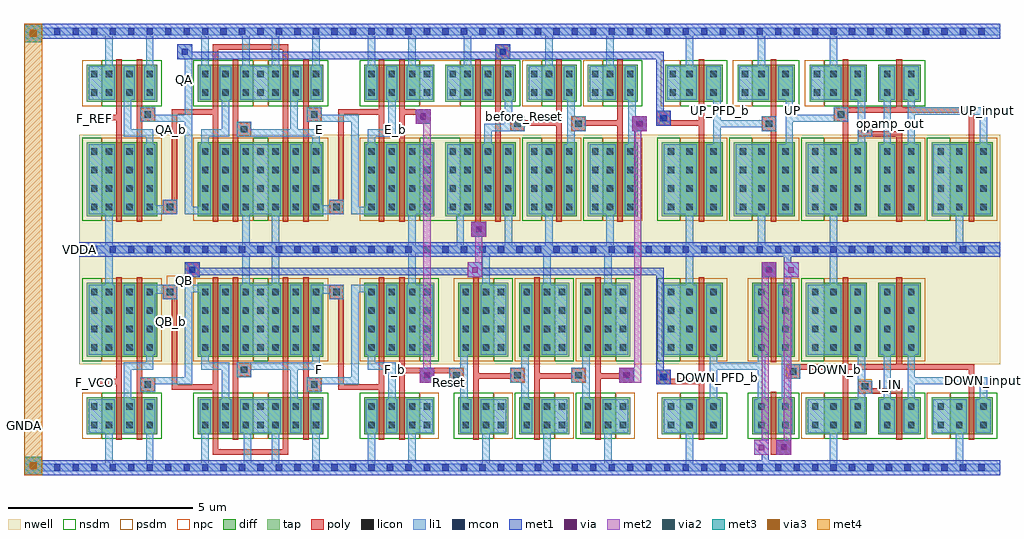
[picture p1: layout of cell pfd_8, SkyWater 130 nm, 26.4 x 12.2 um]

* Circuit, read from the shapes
.subckt pfd_8 DOWN DOWN_PFD_b DOWN_b DOWN_input E E_b F F_REF F_VCO F_b GNDA I_IN QA QA_b QB QB_b Reset UP UP_PFD_b UP_b UP_input VDDA before_Reset opamp_out
XM1 QB_b F_VCO GNDA GNDA sky130_fd_pr__nfet_01v8 w=1 l=0.15
XM2 QA_b F_REF GNDA GNDA sky130_fd_pr__nfet_01v8 w=1 l=0.15
XM3 GNDA QB QB_b GNDA sky130_fd_pr__nfet_01v8 w=1 l=0.15
XM4 GNDA QA QA_b GNDA sky130_fd_pr__nfet_01v8 w=1 l=0.15
XM5 QB QB_b GNDA GNDA sky130_fd_pr__nfet_01v8 w=1 l=0.15
XM6 QA QA_b GNDA GNDA sky130_fd_pr__nfet_01v8 w=1 l=0.15
XM7 GNDA F QB GNDA sky130_fd_pr__nfet_01v8 w=1 l=0.15
XM8 GNDA E QA GNDA sky130_fd_pr__nfet_01v8 w=1 l=0.15
XM9 F QB_b GNDA GNDA sky130_fd_pr__nfet_01v8 w=1 l=0.15
XM10 E QA_b GNDA GNDA sky130_fd_pr__nfet_01v8 w=1 l=0.15
XM11 GNDA F_b F GNDA sky130_fd_pr__nfet_01v8 w=1 l=0.15
XM12 GNDA E_b E GNDA sky130_fd_pr__nfet_01v8 w=1 l=0.15
XM13 F_b F GNDA GNDA sky130_fd_pr__nfet_01v8 w=1 l=0.15
XM14 E_b E GNDA GNDA sky130_fd_pr__nfet_01v8 w=1 l=0.15
XM15 GNDA Reset F_b GNDA sky130_fd_pr__nfet_01v8 w=1 l=0.15
XM16 GNDA Reset E_b GNDA sky130_fd_pr__nfet_01v8 w=1 l=0.15
XM17 GNDA n1 Reset GNDA sky130_fd_pr__nfet_01v8 w=1 l=0.15
XM18 n2 QB GNDA GNDA sky130_fd_pr__nfet_01v8 w=1 l=0.15
XM19 before_Reset QA n2 GNDA sky130_fd_pr__nfet_01v8 w=1 l=0.15
XM20 GNDA n3 n1 GNDA sky130_fd_pr__nfet_01v8 w=1 l=0.15
XM21 n4 before_Reset GNDA GNDA sky130_fd_pr__nfet_01v8 w=1 l=0.15
XM22 GNDA n5 n3 GNDA sky130_fd_pr__nfet_01v8 w=1 l=0.15
XM23 n5 n4 GNDA GNDA sky130_fd_pr__nfet_01v8 w=1 l=0.15
XM24 DOWN_PFD_b QB GNDA GNDA sky130_fd_pr__nfet_01v8 w=1 l=0.15
XM25 UP_PFD_b QA GNDA GNDA sky130_fd_pr__nfet_01v8 w=1 l=0.15
XM26 DOWN_b VDDA DOWN_PFD_b GNDA sky130_fd_pr__nfet_01v8 w=1 l=0.15
XM27 UP UP_PFD_b GNDA GNDA sky130_fd_pr__nfet_01v8 w=1 l=0.15
XM28 DOWN DOWN_b GNDA GNDA sky130_fd_pr__nfet_01v8 w=1 l=0.15
XM29 UP_b UP GNDA GNDA sky130_fd_pr__nfet_01v8 w=1 l=0.15
XM30 DOWN_input DOWN I_IN GNDA sky130_fd_pr__nfet_01v8 w=1 l=0.15
XM31 UP_input UP opamp_out GNDA sky130_fd_pr__nfet_01v8 w=1 l=0.15
XM32 DOWN_input DOWN_b GNDA GNDA sky130_fd_pr__nfet_01v8 w=1 l=0.15
XM33 n6 F_VCO VDDA VDDA sky130_fd_pr__pfet_01v8 w=2 l=0.15
XM34 n7 F_REF VDDA VDDA sky130_fd_pr__pfet_01v8 w=2 l=0.15
XM35 QB_b QB n6 VDDA sky130_fd_pr__pfet_01v8 w=2 l=0.15
XM36 QA_b QA n7 VDDA sky130_fd_pr__pfet_01v8 w=2 l=0.15
XM37 n8 QB_b QB VDDA sky130_fd_pr__pfet_01v8 w=2 l=0.15
XM38 n9 QA_b QA VDDA sky130_fd_pr__pfet_01v8 w=2 l=0.15
XM39 VDDA F n8 VDDA sky130_fd_pr__pfet_01v8 w=2 l=0.15
XM40 VDDA E n9 VDDA sky130_fd_pr__pfet_01v8 w=2 l=0.15
XM41 n10 QB_b VDDA VDDA sky130_fd_pr__pfet_01v8 w=2 l=0.15
XM42 n11 QA_b VDDA VDDA sky130_fd_pr__pfet_01v8 w=2 l=0.15
XM43 F F_b n10 VDDA sky130_fd_pr__pfet_01v8 w=2 l=0.15
XM44 E E_b n11 VDDA sky130_fd_pr__pfet_01v8 w=2 l=0.15
XM45 n12 F F_b VDDA sky130_fd_pr__pfet_01v8 w=2 l=0.15
XM46 n13 E E_b VDDA sky130_fd_pr__pfet_01v8 w=2 l=0.15
XM47 VDDA Reset n12 VDDA sky130_fd_pr__pfet_01v8 w=2 l=0.15
XM48 VDDA Reset n13 VDDA sky130_fd_pr__pfet_01v8 w=2 l=0.15
XM49 VDDA n1 Reset VDDA sky130_fd_pr__pfet_01v8 w=2 l=0.15
XM50 before_Reset QB VDDA VDDA sky130_fd_pr__pfet_01v8 w=2 l=0.15
XM51 VDDA QA before_Reset VDDA sky130_fd_pr__pfet_01v8 w=2 l=0.15
XM52 VDDA n3 n1 VDDA sky130_fd_pr__pfet_01v8 w=2 l=0.15
XM53 n4 before_Reset VDDA VDDA sky130_fd_pr__pfet_01v8 w=2 l=0.15
XM54 VDDA n5 n3 VDDA sky130_fd_pr__pfet_01v8 w=2 l=0.15
XM55 n5 n4 VDDA VDDA sky130_fd_pr__pfet_01v8 w=2 l=0.15
XM56 DOWN_PFD_b QB VDDA VDDA sky130_fd_pr__pfet_01v8 w=2 l=0.15
XM57 UP_PFD_b QA VDDA VDDA sky130_fd_pr__pfet_01v8 w=2 l=0.15
XM58 DOWN_b GNDA DOWN_PFD_b VDDA sky130_fd_pr__pfet_01v8 w=2 l=0.15
XM59 UP UP_PFD_b VDDA VDDA sky130_fd_pr__pfet_01v8 w=2 l=0.15
XM60 DOWN DOWN_b VDDA VDDA sky130_fd_pr__pfet_01v8 w=2 l=0.15
XM61 UP_b UP VDDA VDDA sky130_fd_pr__pfet_01v8 w=2 l=0.15
XM62 DOWN_input DOWN_b I_IN VDDA sky130_fd_pr__pfet_01v8 w=2 l=0.15
XM63 UP_input UP_b opamp_out VDDA sky130_fd_pr__pfet_01v8 w=2 l=0.15
XM64 UP_input UP VDDA VDDA sky130_fd_pr__pfet_01v8 w=2 l=0.15
.ends

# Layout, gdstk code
import gdstk
lib = gdstk.Library(unit=1e-6, precision=1e-09)
def R(c, l, rs):  # rectangles x0, y0, x1, y1
    for r in rs: c.add(gdstk.rectangle(r[:2], r[2:], *l))
def A(c, l, x, y, w, h, nx, ny, dx, dy):  # array of equal rectangles
    R(c, l, [(x+i*dx, y+j*dy, x+i*dx+w, y+j*dy+h) for i in range(nx) for j in range(ny)])
nwell = (64, 20)
diff = (65, 20)
tap = (65, 44)
poly = (66, 20)
licon = (66, 44)
li1 = (67, 20)
mcon = (67, 44)
met1 = (68, 20)
via = (68, 44)
met2 = (69, 20)
via2 = (69, 44)
met3 = (70, 20)
via3 = (70, 44)
met4 = (71, 20)
nsdm = (93, 44)
psdm = (94, 20)
npc = (95, 20)

pfd_8 = lib.new_cell('pfd_8')
R(pfd_8, nwell, [(8,-43.55,32.9,-37.35)])
A(pfd_8, diff, 18.25, -45.45, 0.95, 1, 3, 1, 1.65, 0)
A(pfd_8, diff, 24.25, -45.45, 1.15, 1, 3, 2, 1.95, 9)
A(pfd_8, diff, 18.25, -43.35, 0.95, 2, 3, 1, 1.65, 0)
A(pfd_8, diff, 24.25, -43.35, 1.15, 2, 3, 2, 1.95, 3.8)
A(pfd_8, diff, 13.1, -36.45, 1.5, 1, 3, 1, 2.6, 0)
R(pfd_8, diff, [(8.6,-45.45,10.1,-44.45), (11.2,-45.45,12.7,-44.45), (13.1,-45.45,14.6,-44.45), (15.7,-45.45,17.2,-44.45), (29.6,-45.45,30.75,-44.45), (31.55,-45.45,32.7,-44.45), (8.6,-43.35,10.1,-41.35), (11.2,-43.35,12.7,-41.35), (13.1,-43.35,14.6,-41.35), (15.7,-43.35,17.2,-41.35), (29.6,-43.35,30.75,-41.35), (8.6,-39.55,10.1,-37.55), (11.2,-39.55,12.7,-37.55), (13.1,-39.55,14.6,-37.55), (15.7,-39.55,17.2,-37.55), (18.2,-39.55,19.8,-39.5), (20.5,-39.55,21.45,-37.55), (22.15,-39.55,23.1,-37.55), (29.6,-39.55,30.75,-37.55), (31.55,-39.55,32.7,-37.55), (18.3,-39.5,19.8,-37.55), (8.6,-36.45,10.1,-35.45), (11.2,-36.45,12.7,-35.45), (20.5,-36.45,21.45,-35.45), (22.15,-36.45,23.1,-35.45), (29.6,-36.45,30.75,-35.45)])
A(pfd_8, tap, 8.2, -45.45, 0.4, 1, 3, 2, 4.5, 9)
A(pfd_8, tap, 19.2, -45.45, 0.4, 1, 3, 1, 1.65, 0)
A(pfd_8, tap, 8.2, -43.35, 0.4, 2, 3, 2, 4.5, 3.8)
A(pfd_8, tap, 19.2, -43.35, 0.4, 2, 3, 1, 1.65, 0)
A(pfd_8, tap, 23.75, -39.55, 0.5, 2, 3, 1, 1.95, 0)
A(pfd_8, tap, 23.85, -36.45, 0.4, 1, 3, 1, 1.95, 0)
R(pfd_8, tap, [(23.75,-45.45,24.25,-44.45), (27.65,-45.45,28.15,-44.45), (31.05,-45.45,31.55,-44.45), (23.75,-43.35,24.25,-41.35), (27.65,-43.35,28.15,-41.35), (17.9,-39.55,18.2,-39.5), (20.1,-39.55,20.5,-37.55), (21.75,-39.55,22.15,-37.55), (31.05,-39.55,31.55,-37.55), (17.9,-39.5,18.3,-37.55), (17.9,-36.45,18.3,-35.45), (20.1,-36.45,20.5,-35.45), (21.75,-36.45,22.15,-35.45)])
A(pfd_8, poly, 18.65, -45.6, 0.15, 1.65, 3, 1, 1.65, 0)
A(pfd_8, poly, 18.65, -43.8, 0.15, 2.6, 3, 1, 1.65, 0)
R(pfd_8, poly, [(11.6,-46,13.65,-45.85), (26.7,-46,27.25,-45.6), (11.6,-45.85,11.75,-44.25), (13.5,-45.85,13.65,-41.2), (9,-45.6,9.15,-44.1), (9.55,-45.6,9.7,-44.3), (12.15,-45.6,12.3,-43.9), (14.05,-45.6,14.2,-44.3), (16.1,-45.6,16.25,-44.25), (16.65,-45.6,16.8,-43.8), (24.75,-45.6,24.9,-44.1), (26.7,-45.6,26.85,-44.3), (28.65,-45.6,28.8,-43.7), (30.1,-45.6,30.25,-44.35), (32.05,-45.6,32.2,-43.7), (29.05,-44.35,30.25,-44.2), (9.55,-44.3,10.05,-43.9), (14.05,-44.3,14.55,-43.9), (10.5,-44.25,11.75,-44.1), (15,-44.25,16.25,-44.1), (29.05,-44.2,29.45,-44), (8.4,-44.1,9.15,-43.95), (10.5,-44.1,10.65,-41.8), (11.6,-44.1,11.75,-41.2), (15,-44.1,15.15,-41.8), (16.1,-44.1,16.25,-41.2), (23.6,-44.1,24.9,-43.95), (17.2,-44.05,17.6,-43.8), (18,-44.05,18.4,-43.8), (19.65,-44.05,20.05,-43.95), (21.3,-44.05,21.7,-43.95), (22.6,-44.05,23,-43.95), (9,-43.95,9.15,-41.2), (18.65,-43.95,20.05,-43.8), (20.3,-43.95,21.7,-43.8), (21.95,-43.95,23,-43.8), (23.6,-43.95,24,-43.7), (24.75,-43.95,24.9,-41.2), (27.1,-43.95,27.5,-43.7), (9.55,-43.9,9.7,-41.2), (12.15,-43.9,12.65,-43.5), (14.05,-43.9,14.2,-41.2), (16.65,-43.8,18.4,-43.65), (19.65,-43.8,20.05,-43.65), (21.3,-43.8,21.7,-43.65), (22.6,-43.8,23,-43.65), (27.1,-43.7,32.2,-43.55), (16.65,-43.65,16.8,-41.2), (28.65,-43.55,28.8,-41.2), (30.1,-43.55,30.25,-41.2), (12.15,-43.5,12.3,-41.2), (26.7,-43.5,26.85,-41.2), (10.25,-41.8,10.65,-41.4), (14.75,-41.8,15.15,-41.4), (10.85,-41.2,11.25,-40.8), (26.45,-41.2,26.85,-40.8), (18.6,-40.1,19,-39.7), (9,-39.7,9.15,-36.95), (9.55,-39.7,9.7,-37), (11.6,-39.7,11.75,-36.8), (12.15,-39.7,12.3,-37.4), (13.5,-39.7,13.65,-35.05), (14.05,-39.7,14.2,-37), (16.1,-39.7,16.25,-36.8), (16.65,-39.7,16.8,-36.8), (18.7,-39.7,18.85,-35.3), (19.25,-39.7,19.4,-35.3), (20.9,-39.7,21.05,-37.1), (22.55,-39.7,22.7,-37.1), (24.75,-39.7,24.9,-37.1), (26.7,-39.7,26.85,-37.25), (28.65,-39.7,28.8,-37), (30.1,-39.7,30.25,-37.4), (32.05,-39.7,32.2,-36.75), (10.25,-39.5,10.65,-39.1), (14.75,-39.5,15.15,-39.1), (10.5,-39.1,10.65,-36.8), (15,-39.1,15.15,-36.8), (12.15,-37.4,12.65,-37), (29.05,-37.4,30.25,-37.25), (19.65,-37.25,20.05,-37.1), (21.3,-37.25,21.7,-37.1), (22.95,-37.25,23.35,-36.85), (26.45,-37.25,26.85,-36.85), (29.05,-37.25,29.45,-37), (19.65,-37.1,21.05,-36.95), (21.3,-37.1,22.7,-36.95), (23.6,-37.1,24.9,-36.95), (17.1,-37.05,17.5,-36.8), (9.55,-37,10.05,-36.6), (12.15,-37,12.3,-35.3), (14.05,-37,14.55,-36.6), (28.4,-37,28.8,-36.75), (8.4,-36.95,9.15,-36.8), (19.65,-36.95,20.05,-36.85), (20.9,-36.95,21.05,-35.3), (21.3,-36.95,21.7,-36.85), (22.55,-36.95,22.7,-35.3), (23.6,-36.95,24,-36.7), (24.75,-36.95,24.9,-35.3), (26.7,-36.85,26.85,-35.3), (9,-36.8,9.15,-35.3), (10.5,-36.8,11.75,-36.65), (15,-36.8,16.25,-36.65), (16.65,-36.8,17.5,-36.65), (28.4,-36.75,32.2,-36.6), (11.6,-36.65,11.75,-35.05), (16.1,-36.65,16.25,-35.3), (16.65,-36.65,16.8,-35.3), (9.55,-36.6,9.7,-35.3), (14.05,-36.6,14.2,-35.3), (28.65,-36.6,28.8,-35.3), (30.1,-36.6,30.25,-35.3), (19.25,-35.3,19.65,-34.9), (11.6,-35.05,13.65,-34.9)])
A(pfd_8, licon, 8.715, -45.285, 0.17, 0.17, 3, 2, 0.55, 0.5)
A(pfd_8, licon, 11.315, -45.285, 0.17, 0.17, 3, 2, 0.55, 0.5)
A(pfd_8, licon, 13.215, -45.285, 0.17, 0.17, 3, 2, 0.55, 0.5)
A(pfd_8, licon, 15.815, -45.285, 0.17, 0.17, 3, 2, 0.55, 0.5)
A(pfd_8, licon, 18.115, -43.935, 0.17, 0.17, 3, 1, 1.65, 0)
A(pfd_8, licon, 8.315, -43.185, 0.17, 0.17, 1, 4, 0, 0.5)
A(pfd_8, licon, 8.715, -43.185, 0.17, 0.17, 3, 3, 0.55, 0.5)
A(pfd_8, licon, 11.315, -43.185, 0.17, 0.17, 3, 4, 0.55, 0.5)
A(pfd_8, licon, 12.815, -43.185, 0.17, 0.17, 1, 4, 0, 0.5)
A(pfd_8, licon, 13.215, -43.185, 0.17, 0.17, 3, 3, 0.55, 0.5)
A(pfd_8, licon, 15.815, -43.185, 0.17, 0.17, 3, 4, 0.55, 0.5)
A(pfd_8, licon, 17.315, -43.185, 0.17, 0.17, 1, 4, 0, 0.5)
A(pfd_8, licon, 18.365, -43.185, 0.17, 0.17, 1, 4, 0, 0.5)
A(pfd_8, licon, 18.915, -43.185, 0.17, 0.17, 1, 4, 0, 0.5)
A(pfd_8, licon, 19.315, -43.185, 0.17, 0.17, 1, 4, 0, 0.5)
A(pfd_8, licon, 20.015, -43.185, 0.17, 0.17, 1, 4, 0, 0.5)
A(pfd_8, licon, 20.565, -43.185, 0.17, 0.17, 1, 4, 0, 0.5)
A(pfd_8, licon, 20.965, -43.185, 0.17, 0.17, 1, 4, 0, 0.5)
A(pfd_8, licon, 21.665, -43.185, 0.17, 0.17, 1, 4, 0, 0.5)
A(pfd_8, licon, 22.215, -43.185, 0.17, 0.17, 1, 4, 0, 0.5)
A(pfd_8, licon, 22.615, -43.185, 0.17, 0.17, 1, 4, 0, 0.5)
A(pfd_8, licon, 23.915, -43.185, 0.17, 0.17, 1, 4, 0, 0.5)
A(pfd_8, licon, 24.415, -43.185, 0.17, 0.17, 1, 4, 0, 0.5)
A(pfd_8, licon, 25.065, -43.185, 0.17, 0.17, 1, 4, 0, 0.5)
A(pfd_8, licon, 26.365, -43.185, 0.17, 0.17, 1, 4, 0, 0.5)
A(pfd_8, licon, 27.015, -43.185, 0.17, 0.17, 1, 4, 0, 0.5)
A(pfd_8, licon, 27.815, -43.185, 0.17, 0.17, 1, 4, 0, 0.5)
A(pfd_8, licon, 28.315, -43.185, 0.17, 0.17, 1, 4, 0, 0.5)
A(pfd_8, licon, 28.965, -43.185, 0.17, 0.17, 1, 4, 0, 0.5)
A(pfd_8, licon, 29.765, -43.185, 0.17, 0.17, 1, 4, 0, 0.5)
A(pfd_8, licon, 30.415, -43.185, 0.17, 0.17, 1, 4, 0, 0.5)
A(pfd_8, licon, 8.715, -41.685, 0.17, 0.17, 4, 2, 0.55, 2.3)
A(pfd_8, licon, 13.215, -41.685, 0.17, 0.17, 4, 2, 0.55, 2.3)
A(pfd_8, licon, 8.315, -39.385, 0.17, 0.17, 1, 4, 0, 0.5)
A(pfd_8, licon, 11.315, -39.385, 0.17, 0.17, 3, 4, 0.55, 0.5)
A(pfd_8, licon, 12.815, -39.385, 0.17, 0.17, 1, 4, 0, 0.5)
A(pfd_8, licon, 15.815, -39.385, 0.17, 0.17, 3, 4, 0.55, 0.5)
A(pfd_8, licon, 17.315, -39.385, 0.17, 0.17, 1, 4, 0, 0.5)
A(pfd_8, licon, 18.015, -39.385, 0.17, 0.17, 1, 4, 0, 0.5)
A(pfd_8, licon, 18.415, -39.385, 0.17, 0.17, 3, 4, 0.55, 0.5)
A(pfd_8, licon, 20.215, -39.385, 0.17, 0.17, 1, 4, 0, 0.5)
A(pfd_8, licon, 20.615, -39.385, 0.17, 0.17, 1, 4, 0, 0.5)
A(pfd_8, licon, 21.165, -39.385, 0.17, 0.17, 1, 4, 0, 0.5)
A(pfd_8, licon, 21.865, -39.385, 0.17, 0.17, 1, 4, 0, 0.5)
A(pfd_8, licon, 22.265, -39.385, 0.17, 0.17, 1, 4, 0, 0.5)
A(pfd_8, licon, 22.815, -39.385, 0.17, 0.17, 1, 4, 0, 0.5)
A(pfd_8, licon, 23.915, -39.385, 0.17, 0.17, 1, 4, 0, 0.5)
A(pfd_8, licon, 24.415, -39.385, 0.17, 0.17, 1, 4, 0, 0.5)
A(pfd_8, licon, 25.065, -39.385, 0.17, 0.17, 1, 4, 0, 0.5)
A(pfd_8, licon, 25.865, -39.385, 0.17, 0.17, 1, 4, 0, 0.5)
A(pfd_8, licon, 26.365, -39.385, 0.17, 0.17, 1, 4, 0, 0.5)
A(pfd_8, licon, 27.015, -39.385, 0.17, 0.17, 1, 4, 0, 0.5)
A(pfd_8, licon, 27.815, -39.385, 0.17, 0.17, 1, 4, 0, 0.5)
A(pfd_8, licon, 28.315, -39.385, 0.17, 0.17, 1, 4, 0, 0.5)
A(pfd_8, licon, 28.965, -39.385, 0.17, 0.17, 1, 4, 0, 0.5)
A(pfd_8, licon, 29.765, -39.385, 0.17, 0.17, 1, 4, 0, 0.5)
A(pfd_8, licon, 30.415, -39.385, 0.17, 0.17, 1, 4, 0, 0.5)
A(pfd_8, licon, 31.215, -39.385, 0.17, 0.17, 1, 4, 0, 0.5)
A(pfd_8, licon, 31.715, -39.385, 0.17, 0.17, 1, 4, 0, 0.5)
A(pfd_8, licon, 32.365, -39.385, 0.17, 0.17, 1, 4, 0, 0.5)
A(pfd_8, licon, 8.715, -38.885, 0.17, 0.17, 3, 3, 0.55, 0.5)
A(pfd_8, licon, 13.215, -38.885, 0.17, 0.17, 3, 3, 0.55, 0.5)
A(pfd_8, licon, 19.765, -37.135, 0.17, 0.17, 3, 1, 1.65, 0)
A(pfd_8, licon, 8.715, -36.285, 0.17, 0.17, 3, 2, 0.55, 0.5)
A(pfd_8, licon, 11.315, -36.285, 0.17, 0.17, 3, 2, 0.55, 0.5)
A(pfd_8, licon, 13.215, -36.285, 0.17, 0.17, 3, 2, 0.55, 0.5)
A(pfd_8, licon, 15.815, -36.285, 0.17, 0.17, 3, 2, 0.55, 0.5)
A(pfd_8, licon, 18.415, -36.285, 0.17, 0.17, 3, 2, 0.55, 0.5)
R(pfd_8, licon, [(26.965,-45.885,27.135,-45.715), (8.315,-45.285,8.485,-45.115), (12.815,-45.285,12.985,-45.115), (17.315,-45.285,17.485,-45.115), (18.365,-45.285,18.535,-45.115), (18.915,-45.285,19.085,-45.115), (19.315,-45.285,19.485,-45.115), (20.015,-45.285,20.185,-45.115), (20.565,-45.285,20.735,-45.115), (20.965,-45.285,21.135,-45.115), (21.665,-45.285,21.835,-45.115), (22.215,-45.285,22.385,-45.115), (22.615,-45.285,22.785,-45.115), (23.915,-45.285,24.085,-45.115), (24.415,-45.285,24.585,-45.115), (25.065,-45.285,25.235,-45.115), (26.365,-45.285,26.535,-45.115), (27.015,-45.285,27.185,-45.115), (27.815,-45.285,27.985,-45.115), (28.315,-45.285,28.485,-45.115), (28.965,-45.285,29.135,-45.115), (29.765,-45.285,29.935,-45.115), (30.415,-45.285,30.585,-45.115), (31.215,-45.285,31.385,-45.115), (31.715,-45.285,31.885,-45.115), (32.365,-45.285,32.535,-45.115), (8.315,-44.785,8.485,-44.615), (12.815,-44.785,12.985,-44.615), (17.315,-44.785,17.485,-44.615), (18.365,-44.785,18.535,-44.615), (18.915,-44.785,19.085,-44.615), (19.315,-44.785,19.485,-44.615), (20.015,-44.785,20.185,-44.615), (20.565,-44.785,20.735,-44.615), (20.965,-44.785,21.135,-44.615), (21.665,-44.785,21.835,-44.615), (22.215,-44.785,22.385,-44.615), (22.615,-44.785,22.785,-44.615), (23.915,-44.785,24.085,-44.615), (24.415,-44.785,24.585,-44.615), (25.065,-44.785,25.235,-44.615), (26.365,-44.785,26.535,-44.615), (27.015,-44.785,27.185,-44.615), (27.815,-44.785,27.985,-44.615), (28.315,-44.785,28.485,-44.615), (28.965,-44.785,29.135,-44.615), (29.765,-44.785,29.935,-44.615), (30.415,-44.785,30.585,-44.615), (31.215,-44.785,31.385,-44.615), (31.715,-44.785,31.885,-44.615), (32.365,-44.785,32.535,-44.615), (29.165,-44.235,29.335,-44.065), (9.765,-44.185,9.935,-44.015), (14.265,-44.185,14.435,-44.015), (23.715,-43.985,23.885,-43.815), (17.315,-43.935,17.485,-43.765), (22.715,-43.935,22.885,-43.765), (27.215,-43.835,27.385,-43.665), (12.365,-43.785,12.535,-43.615), (10.965,-41.085,11.135,-40.915), (26.565,-41.085,26.735,-40.915), (18.715,-39.985,18.885,-39.815), (12.365,-37.285,12.535,-37.115), (29.165,-37.285,29.335,-37.115), (26.565,-37.135,26.735,-36.965), (23.715,-36.985,23.885,-36.815), (17.215,-36.935,17.385,-36.765), (9.765,-36.885,9.935,-36.715), (14.265,-36.885,14.435,-36.715), (28.515,-36.885,28.685,-36.715), (8.315,-36.285,8.485,-36.115), (12.815,-36.285,12.985,-36.115), (17.315,-36.285,17.485,-36.115), (18.015,-36.285,18.185,-36.115), (20.215,-36.285,20.385,-36.115), (20.615,-36.285,20.785,-36.115), (21.165,-36.285,21.335,-36.115), (21.865,-36.285,22.035,-36.115), (22.265,-36.285,22.435,-36.115), (22.815,-36.285,22.985,-36.115), (23.965,-36.285,24.135,-36.115), (24.415,-36.285,24.585,-36.115), (25.065,-36.285,25.235,-36.115), (25.915,-36.285,26.085,-36.115), (26.365,-36.285,26.535,-36.115), (27.015,-36.285,27.185,-36.115), (27.865,-36.285,28.035,-36.115), (28.315,-36.285,28.485,-36.115), (28.965,-36.285,29.135,-36.115), (29.765,-36.285,29.935,-36.115), (30.415,-36.285,30.585,-36.115), (8.315,-35.785,8.485,-35.615), (12.815,-35.785,12.985,-35.615), (17.315,-35.785,17.485,-35.615), (18.015,-35.785,18.185,-35.615), (20.215,-35.785,20.385,-35.615), (20.615,-35.785,20.785,-35.615), (21.165,-35.785,21.335,-35.615), (21.865,-35.785,22.035,-35.615), (22.265,-35.785,22.435,-35.615), (22.815,-35.785,22.985,-35.615), (23.965,-35.785,24.135,-35.615), (24.415,-35.785,24.585,-35.615), (25.065,-35.785,25.235,-35.615), (25.915,-35.785,26.085,-35.615), (26.365,-35.785,26.535,-35.615), (27.015,-35.785,27.185,-35.615), (27.865,-35.785,28.035,-35.615), (28.315,-35.785,28.485,-35.615), (28.965,-35.785,29.135,-35.615), (29.765,-35.785,29.935,-35.615), (30.415,-35.785,30.585,-35.615), (19.365,-35.185,19.535,-35.015)])
A(pfd_8, li1, 18.9, -46.25, 0.2, 0.85, 3, 2, 1.65, 4.85)
A(pfd_8, li1, 18.3, -45.4, 0.3, 0.9, 3, 1, 1.65, 0)
A(pfd_8, li1, 18.85, -45.4, 0.7, 0.9, 3, 1, 1.65, 0)
A(pfd_8, li1, 18.3, -44.5, 0.2, 0.45, 3, 1, 1.65, 0)
A(pfd_8, li1, 18, -44.05, 0.5, 0.4, 3, 1, 1.65, 0)
A(pfd_8, li1, 18.3, -43.65, 0.2, 0.35, 3, 1, 1.65, 0)
A(pfd_8, li1, 18.3, -43.3, 0.3, 1.9, 3, 1, 1.65, 0)
A(pfd_8, li1, 18.85, -43.3, 0.7, 1.9, 3, 1, 1.65, 0)
A(pfd_8, li1, 16.9, -40.35, 0.2, 0.85, 3, 1, 1.3, 0)
A(pfd_8, li1, 24.4, -40.35, 0.2, 0.85, 3, 2, 1.95, 4.85)
A(pfd_8, li1, 13.7, -39.5, 0.3, 1.9, 3, 1, 2.6, 0)
A(pfd_8, li1, 19.45, -39.5, 0.3, 1.9, 3, 1, 1.65, 0)
A(pfd_8, li1, 23.8, -39.5, 0.9, 1.9, 3, 1, 1.95, 0)
A(pfd_8, li1, 24.95, -39.5, 0.4, 1.9, 3, 1, 1.95, 0)
A(pfd_8, li1, 19.45, -36.4, 0.3, 0.9, 3, 1, 1.65, 0)
A(pfd_8, li1, 23.9, -36.4, 0.8, 0.9, 3, 1, 1.95, 0)
A(pfd_8, li1, 24.95, -36.4, 0.4, 0.9, 3, 1, 1.95, 0)
R(pfd_8, li1, [(6.5,-46.55,7,-46.45), (6.5,-46.45,32.9,-46.25), (6.5,-46.25,7,-46.05), (8.7,-46.25,8.9,-45.4), (9.8,-46.25,10,-45.4), (11.3,-46.25,11.5,-45.4), (12.45,-46.25,12.65,-45.4), (13.2,-46.25,13.4,-45.4), (14.3,-46.25,14.5,-45.4), (15.8,-46.25,16,-45.4), (16.9,-46.25,17.1,-45.4), (24.4,-46.25,24.6,-45.4), (28.3,-46.25,28.5,-45.4), (31.7,-46.25,31.9,-45.4), (26.85,-46,27.25,-45.6), (8.25,-45.4,8.95,-44.5), (9.2,-45.4,9.5,-44.5), (9.75,-45.4,10.05,-44.5), (11.25,-45.4,11.55,-44.5), (11.8,-45.4,12.1,-44.5), (12.35,-45.4,13.45,-44.5), (13.7,-45.4,14,-44.5), (14.25,-45.4,14.55,-44.5), (15.75,-45.4,16.05,-44.5), (16.3,-45.4,16.6,-44.5), (16.85,-45.4,17.55,-44.5), (23.8,-45.4,24.7,-44.5), (24.95,-45.4,25.35,-44.5), (26.25,-45.4,26.65,-44.5), (26.9,-45.4,27.3,-44.5), (27.7,-45.4,28.6,-44.5), (28.85,-45.4,29.25,-44.5), (29.65,-45.4,30.05,-44.5), (30.3,-45.4,30.7,-44.5), (31.1,-45.4,32,-44.5), (32.25,-45.4,32.65,-44.5), (9.2,-44.5,9.4,-43.7), (11.85,-44.5,12.05,-43.7), (13.7,-44.5,13.9,-43.7), (16.35,-44.5,16.55,-43.7), (25.05,-44.5,25.25,-43.7), (26.35,-44.5,26.55,-43.7), (27,-44.5,27.2,-43.95), (29.05,-44.5,29.25,-44.35), (29.75,-44.5,29.95,-43.3), (30.4,-44.5,30.6,-44.1), (32.35,-44.5,32.55,-44.1), (29.05,-44.35,29.45,-44), (9.65,-44.3,10.05,-44.1), (14.15,-44.3,14.55,-44.1), (9.65,-44.1,11.05,-43.9), (14.15,-44.1,15.55,-43.9), (23.6,-44.1,24,-43.7), (30.4,-44.1,32.55,-43.9), (17.2,-44.05,17.6,-43.65), (22.6,-44.05,23,-43.65), (29.05,-44,29.25,-43.3), (27,-43.95,27.5,-43.55), (10.85,-43.9,11.05,-41.6), (12.25,-43.9,12.65,-43.7), (15.35,-43.9,15.55,-41.6), (30.4,-43.9,30.6,-43.3), (9.2,-43.7,10,-43.5), (11.3,-43.7,12.05,-43.5), (12.25,-43.7,14.5,-43.5), (15.8,-43.7,16.55,-43.5), (25.05,-43.7,26.55,-43.5), (27,-43.55,27.2,-43.3), (9.8,-43.5,10,-43.3), (11.3,-43.5,11.5,-43.3), (14.3,-43.5,14.5,-43.3), (15.8,-43.5,16,-43.3), (25.05,-43.5,25.25,-43.3), (26.35,-43.5,26.55,-43.3), (8.25,-43.3,8.95,-41.4), (9.2,-43.3,9.5,-41.4), (9.75,-43.3,10.05,-41.65), (11.25,-43.3,11.55,-41.6), (11.8,-43.3,12.1,-41.4), (12.35,-43.3,13.45,-41.4), (13.7,-43.3,14,-41.4), (14.25,-43.3,14.55,-41.65), (15.75,-43.3,16.05,-41.6), (16.3,-43.3,16.6,-41.4), (16.85,-43.3,17.55,-41.4), (23.8,-43.3,24.7,-41.4), (24.95,-43.3,25.35,-41.4), (26.25,-43.3,26.65,-41.4), (26.9,-43.3,27.3,-41.4), (27.7,-43.3,28.6,-41.4), (28.85,-43.3,29.25,-41.4), (29.65,-43.3,30.05,-41.4), (30.3,-43.3,30.7,-41.4), (10.25,-41.8,10.65,-41.65), (14.75,-41.8,15.15,-41.65), (9.75,-41.65,10.65,-41.4), (14.25,-41.65,15.15,-41.4), (10.85,-41.6,11.55,-41.4), (15.35,-41.6,16.05,-41.4), (8.7,-41.4,8.9,-40.55), (10.85,-41.4,11.05,-41.2), (12.4,-41.4,12.6,-40.55), (13.2,-41.4,13.4,-40.55), (16.9,-41.4,17.1,-40.55), (24.4,-41.4,24.6,-40.55), (28.3,-41.4,28.5,-40.55), (10.85,-41.2,11.25,-40.8), (26.45,-41.2,26.85,-40.8), (8,-40.55,32.9,-40.35), (8.7,-40.35,8.9,-39.5), (12.4,-40.35,12.6,-39.5), (13.2,-40.35,13.4,-39.5), (20.6,-40.35,20.8,-39.5), (22.25,-40.35,22.45,-39.5), (31.7,-40.35,31.9,-39.5), (18.6,-40.1,19,-39.7), (8.25,-39.5,8.95,-37.6), (9.2,-39.5,9.5,-37.6), (9.75,-39.5,10.65,-39.25), (10.85,-39.5,11.55,-39.3), (11.8,-39.5,12.1,-37.6), (12.35,-39.5,13.45,-37.6), (14.25,-39.5,15.15,-39.25), (15.35,-39.5,16.05,-39.3), (16.85,-39.5,17.55,-37.6), (17.95,-39.5,18.65,-37.6), (20.15,-39.5,20.85,-37.6), (21.8,-39.5,22.5,-37.6), (29.65,-39.5,30.05,-37.6), (30.3,-39.5,30.7,-37.6), (31.1,-39.5,32,-37.6), (32.25,-39.5,32.65,-37.6), (10.85,-39.3,11.05,-37), (11.25,-39.3,11.55,-37.6), (15.35,-39.3,15.55,-37), (15.75,-39.3,16.05,-37.6), (9.75,-39.25,10.05,-37.6), (10.25,-39.25,10.65,-39.1), (14.25,-39.25,14.55,-37.6), (14.75,-39.25,15.15,-39.1), (9.8,-37.6,10,-37.4), (11.3,-37.6,11.5,-37.4), (14.3,-37.6,14.5,-37.4), (15.8,-37.6,16,-37.4), (18.95,-37.6,19.15,-37.25), (21.2,-37.6,21.4,-37.25), (22.85,-37.6,23.05,-37.25), (25.15,-37.6,25.35,-37.15), (27.1,-37.6,27.3,-37), (29.05,-37.6,29.25,-37.4), (29.75,-37.6,29.95,-36.4), (30.4,-37.6,30.6,-36.8), (32.35,-37.6,32.55,-36.8), (9.2,-37.4,10,-37.2), (11.3,-37.4,12.05,-37.2), (12.25,-37.4,14.5,-37.2), (15.8,-37.4,16.55,-37.2), (29.05,-37.4,29.45,-37), (18.95,-37.25,20.05,-37.05), (21.2,-37.25,21.7,-36.85), (22.85,-37.25,23.35,-36.85), (26.45,-37.25,26.85,-37.15), (9.2,-37.2,9.4,-36.4), (11.85,-37.2,12.05,-36.4), (12.25,-37.2,12.65,-37), (13.7,-37.2,13.9,-36.4), (16.35,-37.2,16.55,-36.4), (25.15,-37.15,26.85,-36.95), (23.6,-37.1,24,-36.7), (17.1,-37.05,17.5,-36.65), (19.5,-37.05,20.05,-36.85), (9.65,-37,11.05,-36.8), (14.15,-37,15.55,-36.8), (27.1,-37,28.8,-36.8), (29.05,-37,29.25,-36.4), (25.15,-36.95,25.35,-36.4), (26.45,-36.95,26.85,-36.85), (19.5,-36.85,19.7,-36.4), (21.2,-36.85,21.4,-36.4), (22.85,-36.85,23.05,-36.4), (9.65,-36.8,10.05,-36.6), (10.85,-36.8,11.05,-35.3), (14.15,-36.8,14.55,-36.6), (27.1,-36.8,27.3,-36.4), (28.4,-36.8,28.8,-36.6), (30.4,-36.8,32.55,-36.6), (30.4,-36.6,30.6,-36.4), (8.25,-36.4,8.95,-35.5), (9.2,-36.4,9.5,-35.5), (9.75,-36.4,10.05,-35.5), (11.25,-36.4,11.55,-35.5), (11.8,-36.4,12.1,-35.5), (12.35,-36.4,13.45,-35.5), (13.7,-36.4,14,-35.5), (14.25,-36.4,14.55,-35.5), (15.75,-36.4,16.05,-35.5), (16.3,-36.4,16.6,-35.5), (16.85,-36.4,17.55,-35.5), (17.95,-36.4,18.65,-35.5), (18.9,-36.4,19.2,-35.5), (20.15,-36.4,20.85,-35.5), (21.8,-36.4,22.5,-35.5), (29.65,-36.4,30.05,-35.5), (30.3,-36.4,30.7,-35.5), (8.7,-35.5,8.9,-34.65), (9.8,-35.5,10,-34.65), (11.3,-35.5,11.5,-34.65), (12.4,-35.5,12.6,-34.65), (13.2,-35.5,13.4,-34.65), (14.3,-35.5,14.5,-34.65), (15.8,-35.5,16,-34.65), (16.9,-35.5,17.1,-34.65), (18.4,-35.5,18.6,-34.65), (20.6,-35.5,20.8,-34.65), (22.25,-35.5,22.45,-34.65), (10.65,-35.3,11.05,-34.9), (19.25,-35.3,19.65,-34.9), (6.5,-34.85,7,-34.65), (6.5,-34.65,32.9,-34.45), (6.5,-34.45,7,-34.35)])
A(pfd_8, mcon, 7.315, -46.435, 0.17, 0.17, 51, 2, 0.5, 11.8)
A(pfd_8, mcon, 8.315, -40.535, 0.17, 0.17, 49, 1, 0.5, 0)
R(pfd_8, mcon, [(6.665,-46.385,6.835,-46.215), (26.965,-45.885,27.135,-45.715), (23.715,-43.985,23.885,-43.815), (17.315,-43.935,17.485,-43.765), (22.715,-43.935,22.885,-43.765), (10.965,-41.085,11.135,-40.915), (26.565,-41.085,26.735,-40.915), (18.715,-39.985,18.885,-39.815), (23.065,-37.135,23.235,-36.965), (23.715,-36.985,23.885,-36.815), (17.215,-36.935,17.385,-36.765), (10.765,-35.185,10.935,-35.015), (19.365,-35.185,19.535,-35.015), (6.665,-34.685,6.835,-34.515)])
R(pfd_8, met1, [(6.5,-46.55,32.9,-46.15), (6.5,-46.15,7,-46.05), (26.45,-46.15,26.65,-46), (26.25,-46,26.65,-45.6), (26.85,-46,27.25,-45.6), (23.6,-44.1,24,-43.7), (17.2,-44.05,17.6,-43.65), (22.6,-44.05,23,-43.65), (23.6,-43.7,23.8,-41.15), (10.85,-41.2,11.25,-41.15), (18.5,-41.2,18.9,-41.15), (26.45,-41.2,26.85,-40.8), (27.05,-41.2,27.45,-40.8), (10.85,-41.15,23.8,-40.95), (10.85,-40.95,11.25,-40.8), (18.5,-40.95,18.9,-40.8), (27.05,-40.8,27.25,-40.65), (8,-40.65,32.9,-40.25), (18.6,-40.1,19,-39.7), (22.95,-37.25,23.35,-36.85), (23.6,-37.1,24,-36.7), (17.1,-37.05,17.5,-36.65), (23.6,-36.7,23.8,-35.3), (10.65,-35.3,23.8,-35.1), (10.65,-35.1,11.05,-34.9), (19.25,-35.1,19.65,-34.9), (6.5,-34.85,7,-34.75), (6.5,-34.75,32.9,-34.35)])
R(pfd_8, via, [(6.675,-46.375,6.825,-46.225), (26.375,-45.875,26.525,-45.725), (26.975,-45.875,27.125,-45.725), (17.325,-43.925,17.475,-43.775), (22.725,-43.925,22.875,-43.775), (18.625,-41.075,18.775,-40.925), (26.575,-41.075,26.725,-40.925), (27.175,-41.075,27.325,-40.925), (18.725,-39.975,18.875,-39.825), (23.075,-37.125,23.225,-36.975), (17.225,-36.925,17.375,-36.775), (6.675,-34.675,6.825,-34.525)])
R(pfd_8, met2, [(6.5,-46.55,7,-46.05), (26.25,-46,26.65,-45.6), (26.85,-46,27.25,-45.6), (26.45,-45.6,26.65,-41.2), (27.05,-45.6,27.25,-41.2), (17.2,-44.05,17.6,-43.65), (22.6,-44.05,23.2,-43.65), (17.3,-43.65,17.5,-37.05), (23,-43.65,23.2,-37.25), (18.5,-41.2,18.9,-40.8), (26.45,-41.2,26.85,-40.8), (27.05,-41.2,27.45,-40.8), (18.7,-40.8,18.9,-40.1), (18.6,-40.1,19,-39.7), (22.95,-37.25,23.35,-36.85), (17.1,-37.05,17.5,-36.65), (6.5,-34.85,7,-34.35)])
R(pfd_8, via2, [(6.65,-46.4,6.85,-46.2), (6.65,-34.7,6.85,-34.5)])
R(pfd_8, met3, [(6.5,-46.55,7,-46.05), (6.5,-34.85,7,-34.35)])
R(pfd_8, via3, [(6.65,-46.4,6.85,-46.2), (6.65,-34.7,6.85,-34.5)])
R(pfd_8, met4, [(6.5,-46.55,7,-34.35)])
A(pfd_8, nsdm, 18.125, -45.575, 1.075, 1.25, 3, 1, 1.65, 0)
A(pfd_8, nsdm, 19.2, -43.475, 0.525, 2.25, 3, 1, 1.65, 0)
A(pfd_8, nsdm, 23.625, -39.675, 0.625, 2.25, 3, 1, 1.95, 0)
R(pfd_8, nsdm, [(8.6,-45.575,10.225,-44.325), (11.075,-45.575,12.7,-44.325), (13.1,-45.575,14.725,-44.325), (15.575,-45.575,17.2,-44.325), (24.25,-45.575,25.525,-44.325), (26.075,-45.575,27.475,-44.325), (28.15,-45.575,30.875,-44.325), (31.55,-45.575,32.825,-44.325), (8.075,-43.475,8.6,-41.225), (12.7,-43.475,13.1,-41.225), (17.2,-43.475,17.725,-41.225), (23.625,-43.475,24.25,-41.225), (27.525,-43.475,28.15,-41.225), (8.075,-39.675,8.6,-37.425), (12.7,-39.675,13.1,-37.425), (17.2,-39.675,18.2,-39.5), (19.975,-39.675,20.5,-37.425), (21.625,-39.675,22.15,-37.425), (30.925,-39.675,31.55,-37.425), (17.2,-39.5,18.3,-37.425), (8.6,-36.575,10.225,-35.325), (11.075,-36.575,12.7,-35.325), (13.1,-36.575,14.725,-35.325), (15.575,-36.575,17.2,-35.325), (18.3,-36.575,19.925,-35.325), (20.5,-36.575,21.575,-35.325), (22.15,-36.575,23.225,-35.325), (24.25,-36.575,25.525,-35.325), (26.2,-36.575,27.475,-35.325), (28.15,-36.575,30.875,-35.325)])
A(pfd_8, psdm, 19.2, -45.575, 0.525, 1.25, 3, 1, 1.65, 0)
A(pfd_8, psdm, 18.125, -43.475, 1.075, 2.25, 3, 1, 1.65, 0)
A(pfd_8, psdm, 23.725, -36.575, 0.525, 1.25, 3, 1, 1.95, 0)
R(pfd_8, psdm, [(8.075,-45.575,8.6,-44.325), (12.7,-45.575,13.1,-44.325), (17.2,-45.575,17.725,-44.325), (23.625,-45.575,24.25,-44.325), (27.525,-45.575,28.15,-44.325), (30.925,-45.575,31.55,-44.325), (8.6,-43.475,10.225,-41.225), (11.075,-43.475,12.7,-41.225), (13.1,-43.475,14.725,-41.225), (15.575,-43.475,17.2,-41.225), (24.25,-43.475,25.525,-41.225), (26.075,-43.475,27.475,-41.225), (28.15,-43.475,30.875,-41.225), (8.6,-39.675,10.225,-37.425), (11.075,-39.675,12.7,-37.425), (13.1,-39.675,14.725,-37.425), (15.575,-39.675,17.2,-37.425), (18.2,-39.675,19.925,-39.5), (20.5,-39.675,21.575,-37.425), (22.15,-39.675,23.225,-37.425), (24.25,-39.675,25.525,-37.425), (26.2,-39.675,27.475,-37.425), (28.15,-39.675,30.875,-37.425), (31.55,-39.675,32.825,-37.425), (18.3,-39.5,19.925,-37.425), (8.075,-36.575,8.6,-35.325), (12.7,-36.575,13.1,-35.325), (17.2,-36.575,18.3,-35.325), (19.975,-36.575,20.5,-35.325), (21.625,-36.575,22.15,-35.325)])
A(pfd_8, npc, 18.015, -44.035, 0.37, 0.37, 3, 1, 1.65, 0)
A(pfd_8, npc, 19.665, -37.235, 0.37, 0.37, 3, 1, 1.65, 0)
R(pfd_8, npc, [(26.865,-45.985,27.235,-45.615), (29.065,-44.335,29.435,-43.965), (9.665,-44.285,10.035,-43.915), (14.165,-44.285,14.535,-43.915), (23.615,-44.085,23.985,-43.715), (17.215,-44.035,17.585,-43.665), (22.615,-44.035,22.985,-43.665), (27.115,-43.935,27.485,-43.565), (12.265,-43.885,12.635,-43.515), (10.265,-41.785,10.635,-41.435), (14.765,-41.785,15.135,-41.415), (10.265,-41.435,11.135,-41.415), (10.365,-41.415,11.135,-41.185), (10.365,-41.185,11.235,-41.165), (26.465,-41.185,26.835,-40.815), (10.865,-41.165,11.235,-40.815), (18.615,-40.085,18.985,-39.715), (10.265,-39.485,10.635,-39.115), (14.765,-39.485,15.135,-39.115), (12.265,-37.385,12.635,-37.015), (29.065,-37.385,29.435,-37.015), (26.465,-37.235,26.835,-36.865), (23.615,-37.085,23.985,-36.715), (17.115,-37.035,17.485,-36.665), (9.665,-36.985,10.035,-36.615), (14.165,-36.985,14.535,-36.615), (28.415,-36.985,28.785,-36.615), (19.265,-35.285,19.635,-34.915)])
pfd_8.add(gdstk.Label('QA', (10.85,-35.85), layer=67, texttype=5))
pfd_8.add(gdstk.Label('Reset', (18,-44.05), layer=67, texttype=5))
pfd_8.add(gdstk.Label('F_b', (16.55,-43.7), layer=67, texttype=5))
pfd_8.add(gdstk.Label('F', (14.5,-43.7), layer=67, texttype=5))
pfd_8.add(gdstk.Label('QB_b', (10.5,-42.4), layer=66, texttype=5))
pfd_8.add(gdstk.Label('E_b', (16.55,-37.2), layer=67, texttype=5))
pfd_8.add(gdstk.Label('E', (14.5,-37.2), layer=67, texttype=5))
pfd_8.add(gdstk.Label('QA_b', (10.5,-37.2), layer=66, texttype=5))
pfd_8.add(gdstk.Label('before_Reset', (20.05,-36.85), layer=67, texttype=5))
pfd_8.add(gdstk.Label('DOWN_b', (28.45,-43.7), layer=66, texttype=5))
pfd_8.add(gdstk.Label('DOWN_PFD_b', (25.25,-43.9), layer=67, texttype=5))
pfd_8.add(gdstk.Label('UP', (27.3,-36.7), layer=67, texttype=5))
pfd_8.add(gdstk.Label('UP_PFD_b', (25.35,-36.7), layer=67, texttype=5))
pfd_8.add(gdstk.Label('QB', (10.85,-41.3), layer=67, texttype=5))
pfd_8.add(gdstk.Label('DOWN_input', (32.55,-44), layer=67, texttype=5))
pfd_8.add(gdstk.Label('VDDA', (8,-40.45), layer=68, texttype=5))
pfd_8.add(gdstk.Label('GNDA', (6.5,-45.2), layer=71, texttype=5))
pfd_8.add(gdstk.Label('UP_input', (32.55,-36.7), layer=67, texttype=5))
pfd_8.add(gdstk.Label('opamp_out', (29.95,-37.05), layer=67, texttype=5))
pfd_8.add(gdstk.Label('F_REF', (8.4,-36.9), layer=66, texttype=5))
pfd_8.add(gdstk.Label('I_IN', (29.95,-44.1), layer=67, texttype=5))
pfd_8.add(gdstk.Label('F_VCO', (8.4,-44.05), layer=66, texttype=5))
pfd_8.add(gdstk.Label('UP_b', (29.25,-36.85), layer=67, texttype=5))
pfd_8.add(gdstk.Label('DOWN', (29.25,-43.8), layer=67, texttype=5))

lib.write_gds('pfd_8.gds')
